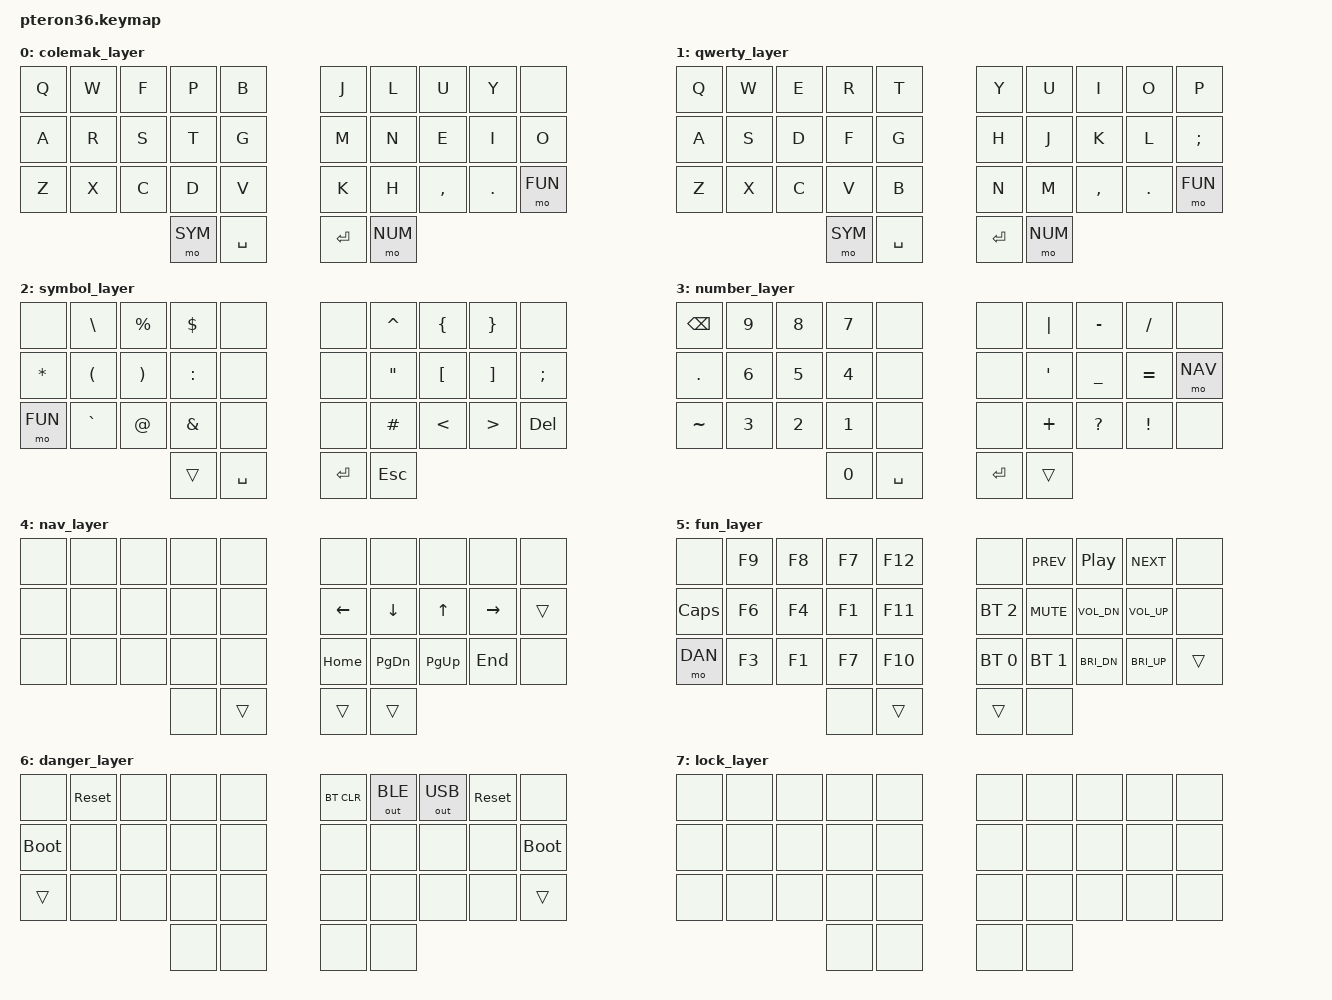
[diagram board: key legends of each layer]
/*
 * Copyright (c) 2020 The ZMK Contributors
 *
 * SPDX-License-Identifier: MIT
 */


#include <behaviors.dtsi>
#include <dt-bindings/zmk/keys.h>
#include <dt-bindings/zmk/bt.h>
#include <dt-bindings/zmk/outputs.h>
 
#define CMK 0
#define QRT 1
#define SYM 2
#define NUM 3
#define NAV 4
#define FUN 5
#define DAN 6
#define LCK 7

&caps_word {
   continue-list = <UNDERSCORE MINUS BACKSPACE>;
};


/ {

    combos {
        #include "combos.dtsi"    
    };

    behaviors {
        skq: sticky_key_quick_release {
            compatible = "zmk,behavior-sticky-key";
            label = "STICKY_KEY_QUICK_RELEASE";
            #binding-cells = <1>;
            bindings = <&kp>;
            release-after-ms = <1000>;
            quick-release;
        };
    };
};

/*           34 Keys
╭──────────────╮ ╭──────────────╮
│ 0  1  2  3  4│ │ 5  6  7  8  9│
│10 11 12 13 14│ │15 16 17 18 19│
│20 21 22 23 24│ │25 26 27 28 29│
╰────────╮30 31│ │32 33╭────────╯
         ╰─────╯ ╰─────╯         */


/ {
        keymap {
                compatible = "zmk,keymap";
                colemak_layer {
// -----------------------------------------------------------------
// |  Q  |  W  |  F  |  P  |  B  | |  J  |  L  |  U  |  Y  |     |
// |  A  |  R  |  S  |  T  |  G  | |  M  |  N  |  E  |  I  |  O  |
// |  Z  |  X  |  C  |  D  |  V  | |  K  |  H  |  ,  |  .  |-FUN-|
//                   |-SYM-| SPC | | RET |-NUM-|
                        bindings = <
   &kp Q &kp W &kp F &kp P &kp B &kp J &kp L   &kp U     &kp Y   &none
   &kp A &kp R &kp S &kp T &kp G &kp M &kp N   &kp E     &kp I   &kp O
   &kp Z &kp X &kp C &kp D &kp V &kp K &kp H   &kp COMMA &kp DOT &mo FUN
                   &mo SYM &kp SPACE &kp RET &mo NUM
                        >;
                };
                qwerty_layer {
// -----------------------------------------------------------------
// |  Q  |  W  |  E  |  R  |  T  | |  Y  |  U  |  I  |  O  |  P  |
// |  A  |  S  |  D  |  F  |  G  | |  H  |  J  |  K  |  L  |  ;  |
// |  Z  |  X  |  C  |  V  |  B  | |  N  |  M  |  ,  |  .  |-FUN-|
//                   |-SYM-| SPC | | RET |-NUM-|
                        bindings = <
   &kp Q &kp W &kp E &kp R &kp T &kp Y &kp U &kp I     &kp O   &kp P
   &kp A &kp S &kp D &kp F &kp G &kp H &kp J &kp K     &kp L   &kp SEMI
   &kp Z &kp X &kp C &kp V &kp B &kp N &kp M &kp COMMA &kp DOT &mo FUN
                   &mo SYM &kp SPACE &kp RET &mo NUM
                        >;
                };
                symbol_layer {
// -----------------------------------------------------------------
// |     |  \  |  %  |  $  |     | |     |  ^  |  {  |  }  |     |
// |  *  |  (  |  )  |  :  |     | |     |  "  |  [  |  ]  |  ;  |
// |     |  `  |  @  |  &  |     | |     |  #  |  <  |  >  | DEL |
//                   |_SYM_| SPC | | RET | ESC |
                        bindings = <
   &none  &kp BSLH &kp PRCNT &kp DLLR  &none &none &kp CARET &kp LBRC &kp RBRC &none
   &kp STAR &kp LPAR &kp RPAR  &kp COLON &none &none &kp DQT   &kp LBKT &kp RBKT &kp SEMI
   &mo FUN  &kp GRAVE   &kp AT  &kp AMPS  &none &none &kp HASH &kp LT   &kp GT   &kp DEL
                             &trans &kp SPACE &kp RET &kp ESC
                        >;
                };
                number_layer {
// -----------------------------------------------------------------
// | BSPC |  9  |  8  |  7  |     | |     |  |  |  -  |  /  |     |
// |  .   |  6  |  5  |  4  |     | |     |  '  |  _  |  =  |-NAV-|
// |  ~   |  3  |  2  |  1  |     | |     |  +  |  ?  |  !  |     |
//                   |  0  | SPC | | RET |_NUM_|
                        bindings = <
   &kp BSPC  &kp N9 &kp N8 &kp N7 &none &none &kp PIPE &kp MINUS &kp FSLH  &none
   &kp DOT &kp N6 &kp N5 &kp N4 &none &none &kp SQT  &kp UNDER &kp EQUAL &mo NAV  
   &kp TILDE  &kp N3 &kp N2 &kp N1 &none &none &kp PLUS &kp QMARK  &kp EXCL    &none
                 &kp N0 &kp SPACE &kp RET  &trans
                        >;
                };
                nav_layer {
// -----------------------------------------------------------------
// |     |     |     |     |     | |     |     |     |     |     |
// |     |     |     |     |     | | LFT | DWN | U P |RIGHT|_NAV_|
// |     |     |     |     |     | | HOM |PG_DN|PG_UP| END |     |
//                   |     | SPC | | RET |_NUM_|
                        bindings = <
   &none &none &none &none &none &none    &none     &none     &none     &none 
   &none &none &none &none &none &kp LEFT &kp DOWN  &kp UP    &kp RIGHT &trans  
   &none &none &none &none &none &kp HOME &kp PG_DN &kp PG_UP &kp END   &none 
                         &none &trans &trans &trans
                        >;
                };
                fun_layer {
// -----------------------------------------------------------------
// |     | F 9 | F 8 | F 7 | F12 | | <!> | PLAY_PREV | PAUSE/PLAY | PLAY_NEXT |     |
// |CAPSL| F 6 | F 5 | F 4 | F11 | | BT2 |VMUTE|VOLDN|VOLUP| <!> |
// |-!!!-| F 3 | F 2 | F 1 | F10 | | BT0 | BT1 |BRIDN|BRIUP|_FUN_|
//                   |     | SPC | | RET |     |
                        bindings = <
   &none &kp F9 &kp F8 &kp F7 &kp F12 &none &kp C_PREV &kp C_PP &kp C_NEXT &none
   &kp CAPS &kp F6   &kp F4 &kp F1 &kp F11 &bt BT_SEL 2 &kp C_MUTE &kp C_VOL_DN &kp C_VOL_UP &none
   &mo DAN &kp F3 &kp F1 &kp F7  &kp F10 &bt BT_SEL 0  &bt BT_SEL 1 &kp C_BRI_DN &kp C_BRI_UP &trans
                         &none &trans &trans &none 
                        >;
                };
                danger_layer {
// -----------------------------------------------------------------
// |     |RESET|     |     |     | |BTCLR| BLE | USB |RESET|     |
// |BOOTL|     |     |     |     | |     |     |     |     |BOOTL|
// |_!!!_|     |     |     |     | |     |     |     |     |_FUN_|
//                   |     |     | |     |     |
                    // impactful buttons
                    // Bluetooth clear, reset, chaning BLE/USB preference, bootloader
                    bindings = <
&none &sys_reset &none &none &none &bt BT_CLR  &out OUT_BLE &out OUT_USB &sys_reset &none
&bootloader &none &none &none &none &none &none &none &none &bootloader
&trans &none &none &none &none &none &none &none &none &trans
&none &none &none &none
                    >;
                };
                lock_layer {
                    // only way out is the lock combo
                    // other combos are disabled too
                    bindings = <
&none &none &none &none &none &none &none &none &none &none 
&none &none &none &none &none &none &none &none &none &none 
&none &none &none &none &none &none &none &none &none &none 
&none &none &none &none 
                    >;
                };
        };
};
